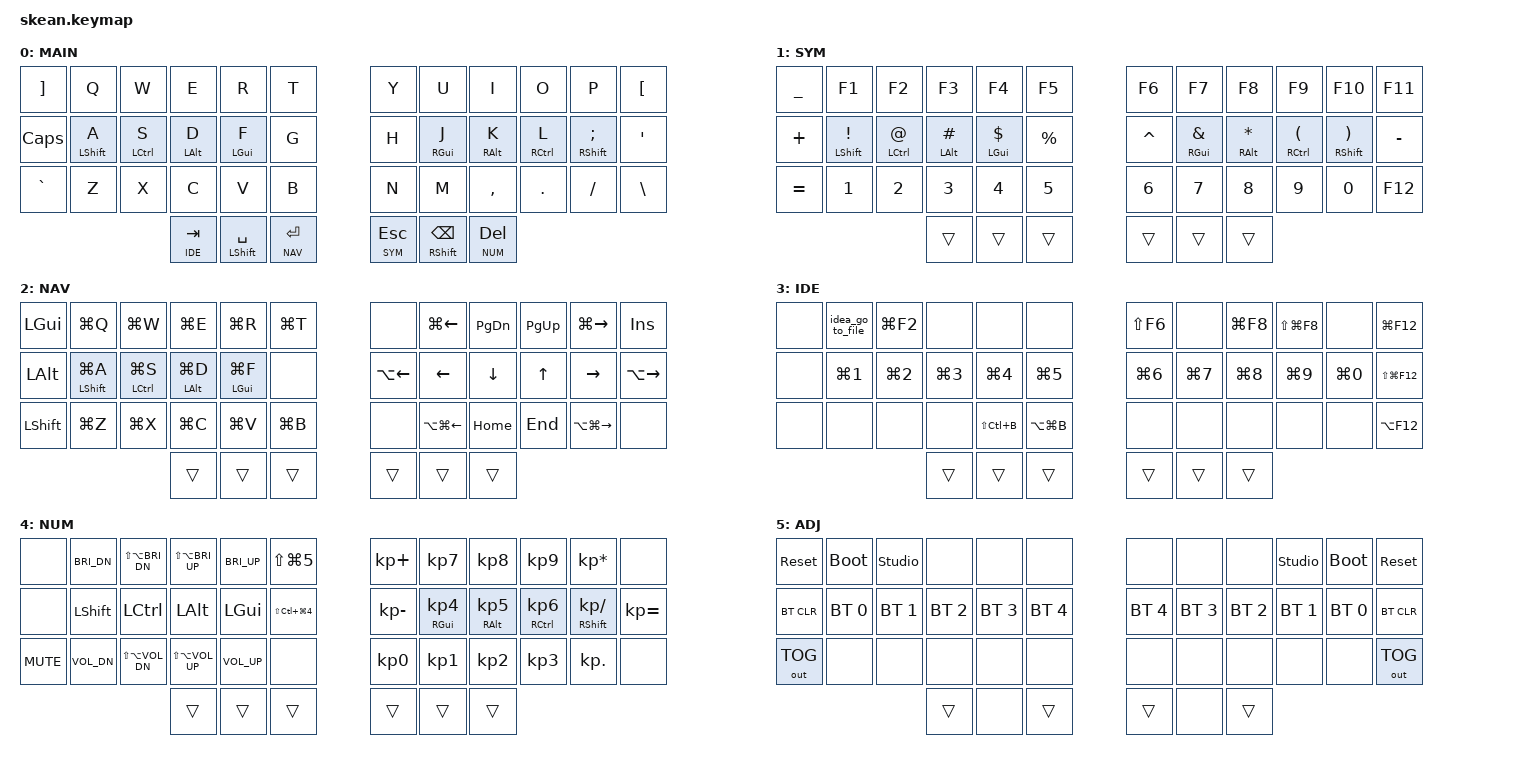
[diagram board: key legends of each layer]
/*
 * Copyright (c) 2020 The ZMK Contributors
 *
 * SPDX-License-Identifier: MIT
 */

#include <behaviors.dtsi>
#include <dt-bindings/zmk/keys.h>
#include <dt-bindings/zmk/bt.h>
#include <dt-bindings/zmk/outputs.h>

#define DEF 0
#define SYM 1
#define NAV 2
#define IDE 3
#define NUM 4
#define ADJ 5

// Key positions
//  0  1  2  3  4  5     6  7  8  9 10 11
// 12 13 14 15 16 17    18 19 20 21 22 23
// 24 25 26 27 28 29    30 31 32 33 34 35
//          36 37 38    39 40 41

&lt {
    flavor = "balanced";
    tapping-term-ms = <280>;
    quick-tap-ms = <220>;
    require-prior-idle-ms = <150>;
};

&mt {
    flavor = "balanced";
    tapping-term-ms = <280>;
    quick-tap-ms = <220>;
    require-prior-idle-ms = <150>;
};

/ {
    behaviors {
        hmt: hold_mod_tap {
            compatible = "zmk,behavior-hold-tap";
            #binding-cells = <2>;
            flavor = "hold-preferred";
            tapping-term-ms = <280>;
            quick-tap-ms = <220>;
            bindings = <&kp>, <&kp>;
        };
    };
};

/ {
    conditional_layers {
        compatible = "zmk,conditional-layers";
        tri_layer_1 {
            if-layers = <SYM NUM>;
            then-layer = <ADJ>;
        };
        tri_layer_2 {
            if-layers = <IDE NAV>;
            then-layer = <ADJ>;
        };
    };
};

/ {
    macros {
        idea_go_to_file: idea_go_to_file {
            compatible = "zmk,behavior-macro";
            #binding-cells = <0>;
            bindings = <&kp LA(F1) &kp N1>;
        };
    };
};

/ {
    keymap {
        compatible = "zmk,keymap";

        default_layer {
            display-name = "MAIN";
// -----------------------------------------------------------------------------------------
// |  ]   |   Q    |   W    |   E     |   R      |  T      |   |  Y      |   U       |   I     |    O   |    P   | [ |
// | CAPS | SHFT/A | CTRL/S | ALT/D   | GUI/F    |  G      |   |  H      | GUI/J     | ALT/K   | CTRL/L | SHFT/; | ' |
// |  ~   |   Z    |   X    |   C     |   V      |  B      |   |  N      |   M       |   ,     |    .   |    /   | \ |
//                          | NUM/TAB | SHFT/SPC | NAV/RET |   | SYM/ESC | SHFT/BKSP | NUM/DEL |
// -----------------------------------------------------------------------------------------
            bindings = <
    &kp RBKT  &kp Q       &kp W       &kp E       &kp R            &kp T              &kp Y       &kp U           &kp I       &kp O       &kp P          &kp LBKT
    &kp CAPS  &mt LSHFT A &mt LCTRL S &mt LALT D  &mt LGUI F       &kp G              &kp H       &mt RGUI J      &mt RALT K  &mt RCTRL L &mt RSHFT SEMI &kp SQT
    &kp GRAVE &kp Z       &kp X       &kp C       &kp V            &kp B              &kp N       &kp M           &kp COMMA   &kp DOT     &kp FSLH       &kp BSLH
                                      &lt IDE TAB &hmt LSHFT SPACE &lt NAV RET        &lt SYM ESC &hmt RSHFT BSPC &lt NUM DEL
            >;
        };

        symbols_layer {
            display-name = "SYM";
// -----------------------------------------------------------------------------------------
// | _  |   F1   |   F2   |   F3  |   F4  | F5  |   | F6 |   F7  |   F8  |    F9  |   F10  | F11 |
// | +  | SHFT/! | CTRL/@ | ALT/# | GUI/$ |  %  |   | ^  | GUI/& | ALT/* | CTRL/( | SHFT/) |  -  |
// | =  |   1    |   2    |   3   |   4   |  5  |   | 6  |   7   |   8   |    9   |    0   | F12 |
//                        |  ADJ  |       |     |   |    |       |  ADJ  |
// -----------------------------------------------------------------------------------------
            bindings = <
    &kp UNDER &kp F1         &kp F2       &kp F3        &kp F4        &kp F5           &kp F6    &kp F7        &kp F8        &kp F9         &kp F10        &kp F11
    &kp PLUS  &mt LSHFT EXCL &mt LCTRL AT &mt LALT HASH &mt LGUI DLLR &kp PRCNT        &kp CARET &mt RGUI AMPS &mt RALT STAR &mt RCTRL LPAR &mt RSHFT RPAR &kp MINUS
    &kp EQUAL &kp N1         &kp N2       &kp N3        &kp N4        &kp N5           &kp N6    &kp N7        &kp N8        &kp N9         &kp N0         &kp F12
                                          &trans        &trans        &trans           &trans    &trans        &trans
            >;
        };

        navigation_layer {
            display-name = "NAV";
// -----------------------------------------------------------------------------------------
// | GUI  | GUI+Q      | GUI+W      | GUI+E     | GUI+R     | GUI+T |   | ---      | GUI+LEFT     | PGDN | PGUP | GUI+RIGHT     | INS       |
// | ALT  | SHFT/GUI+A | CTRL/GUI+S | ALT/GUI+D | GUI/GUI+F | ---   |   | ALT+LEFT | LEFT         | DOWN | UP   | RIGHT         | ALT+RIGHT |
// | SHFT | GUI+Z      | GUI+X      | GUI+C     | GUI+V     | GUI+B |   | ---      | ALT+GUI+LEFT | HOME | END  | ALT+GUI+RIGHT | ---       |
//                                  |           |           | ADJ   |   | ADJ      |              |      |
// -----------------------------------------------------------------------------------------
            bindings = <
    &kp LGUI  &kp LG(Q)       &kp LG(W)       &kp LG(E)      &kp LG(R)      &kp LG(T)        &none        &kp LG(LEFT)     &kp PG_DN &kp PG_UP &kp LG(RIGHT)     &kp INS
    &kp LALT  &mt LSHFT LG(A) &mt LCTRL LG(S) &mt LALT LG(D) &mt LGUI LG(F) &none            &kp LA(LEFT) &kp LEFT         &kp DOWN  &kp UP    &kp RIGHT         &kp LA(RIGHT)
    &kp LSHFT &kp LG(Z)       &kp LG(X)       &kp LG(C)      &kp LG(V)      &kp LG(B)        &none        &kp LA(LG(LEFT)) &kp HOME  &kp END   &kp LA(LG(RIGHT)) &none
                                              &trans         &trans         &trans           &trans       &trans           &trans
            >;
        };

        idea_layer {
            display-name = "IDE";
// -----------------------------------------------------------------------------------------
// | --- | ALT+F1,1 | GUI+F2 | ---   | ---         | ---       |   | GUI+F6 | ---   | GUI+F8 | SHFT+GUI+F8 | ---   | GUI+F12      |
// | --- | GUI+1    | GUI+2  | GUI+3 | GUI+4       | GUI+5     |   | GUI+6  | GUI+7 | GUI+8  | GUI+9       | GUI+0 | SHFT+GUI+F12 |
// | --- | ---      | ---    | ---   | SHFT+CTRL+B | ALT+GUI+B |   | ---    | ---   | ---    | ---         | ---   | ALT+F12      |
//                           |       |             | ADJ       |   | ADJ    |       |        |
// -----------------------------------------------------------------------------------------
            bindings = <
    &none &idea_go_to_file &kp LG(F2) &none      &none         &none                &kp LS(F6) &none      &kp LG(F8) &kp LS(LG(F8)) &none      &kp LG(F12)
    &none &kp LG(N1)       &kp LG(N2) &kp LG(N3) &kp LG(N4)    &kp LG(N5)           &kp LG(N6) &kp LG(N7) &kp LG(N8) &kp LG(N9)     &kp LG(N0) &kp LS(LG(F12))
    &none &none            &none      &none      &kp LS(LC(B)) &kp LA(LG(B))        &none      &none      &none      &none          &none      &kp LA(F12)
                                      &trans     &trans        &trans               &trans     &trans     &trans
            >;
        };

        numpad_layer {
            display-name = "NUM";
// -----------------------------------------------------------------------------------------
// | --- | BRID | SHFT+ALT+BRID | SHFT+ALT+BRIU | BRIU | SHFT+GUI+5      |   |  +  |   7   |   8   |   9    |    *    | --- |
// | --- | SHFT | CTRL          | ALT           | GUI  | SHFT+CTRL+GUI+4 |   |  -  | GUI/4 | ALT/5 | CTRL/6 | SHFT/ / |  =  |
// | MUT | VOLD | SHFT+ALT+VOLD | SHFT+ALT+VOLU | VOLU | ---             |   |  0  |   1   |   2   |   3    |    .    | --- |
//                              |               |      | ADJ             |   | ADJ |       |       |
// -----------------------------------------------------------------------------------------
            bindings = <
    &none      &kp C_BRI_DN &kp LS(LA(C_BRI_DN)) &kp LS(LA(C_BRI_UP)) &kp C_BRI_UP &kp LS(LG(N5))          &kp KP_PLUS  &kp KP_N7      &kp KP_N8      &kp KP_N9       &kp KP_MULTIPLY    &none
    &none      &kp LSHFT    &kp LCTRL            &kp LALT             &kp LGUI     &kp LS(LC(LG(N4)))      &kp KP_MINUS &mt RGUI KP_N4 &mt RALT KP_N5 &mt RCTRL KP_N6 &mt RSHFT KP_SLASH &kp KP_EQUAL
    &kp C_MUTE &kp C_VOL_DN &kp LS(LA(C_VOL_DN)) &kp LS(LA(C_VOL_UP)) &kp C_VOL_UP &none                   &kp KP_N0    &kp KP_N1      &kp KP_N2      &kp KP_N3       &kp KP_DOT         &none
                                                 &trans               &trans       &trans                  &trans       &trans         &trans
            >;
        };

        adjust_layer {
            display-name = "ADJ";
// -----------------------------------------------------------------------------------------
// | RST   | BLDR | STU |     |     |     |   |     |     |     | STU | BLDR | RST   |
// | BTCLR | BT0  | BT1 | BT2 | BT3 | BT4 |   | BT4 | BT3 | BT2 | BT1 | BT0  | BTCLR |
// | OUT   |      |     |     |     |     |   |     |     |     |     |      | OUT   |
//                      |     |     |     |   |     |     |     |
// -----------------------------------------------------------------------------------------
            bindings = <

    &sys_reset   &bootloader  &studio_unlock &none        &none        &none              &none        &none        &none        &studio_unlock &bootloader   &sys_reset
    &bt BT_CLR   &bt BT_SEL 0 &bt BT_SEL 1   &bt BT_SEL 2 &bt BT_SEL 3 &bt BT_SEL 4       &bt BT_SEL 4 &bt BT_SEL 3 &bt BT_SEL 2 &bt BT_SEL 1   &bt BT_SEL 0  &bt BT_CLR
    &out OUT_TOG &none        &none          &none        &none        &none              &none        &none        &none        &none          &none         &out OUT_TOG
                                             &trans       &none        &trans             &trans       &none        &trans
            >;
        };
    };
};
